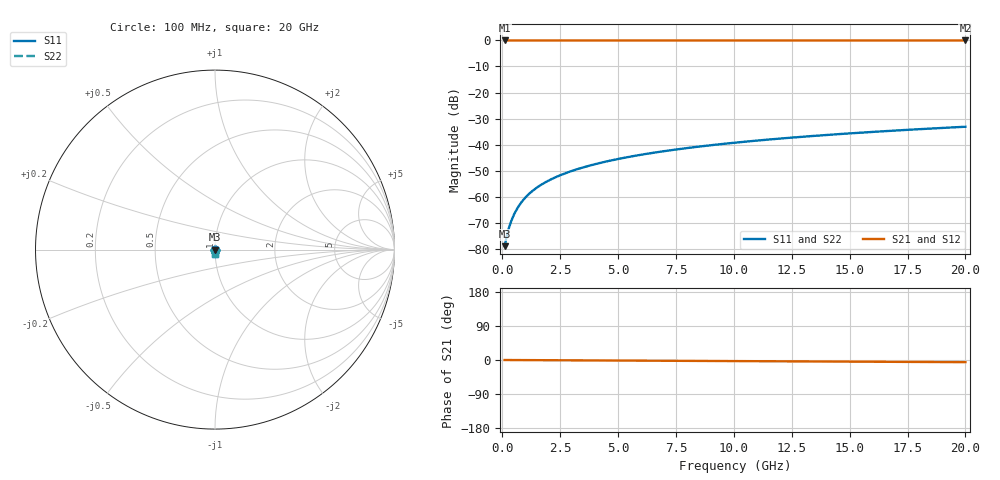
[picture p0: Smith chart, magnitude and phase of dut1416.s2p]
! Touchstone file exported from HFSS 2026.1.0
!  File:  C:/ffzhzh/LocalFiles/Ansys_Project_Files/temp_train_TSV_1416_1783197154_51560.aedt
!  Generated:  04:34:00 AM Jul  5, 2026
!  Design:  TSV
!  Project:  temp_train_TSV_1416_1783197154_51560
! Variables:
!  h_bsmrdl = 2um
!  h_ox = 20um
!  h_rdl = 5um
!  h_sub = 54.92um
!  h_tmrdl = 5um
!  h_tsv = 54.92um
!  h_via = 3um
!  l_bsmrdl = 300um
!  l_sub = 423.38um
!  l_tmrdl = 200um
!  m_sub = 200um
!  pitch = 37.97um
!  r_tsv = 11.69um
!  s_tmrdl = 10um
!  w_bsmrdl = 18um
!  w_sub = 500um
!  w_tmrdl = 12um
!  x_tsv_center1 = 206um
!  x_tsv_center2 = 524um
!  x_tsv_center3 = 736um
!  x_tsv_center4 = 1054um
!  x_tsv_center5 = 1266um
!  x_tsv_center6 = 1584um
# GHz S MA R 50.000000
! Terminal data exported
! Port[1] = TSV1_1_T1
! Port[2] = TSV1_1_T2
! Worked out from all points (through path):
!   200 points, 100 MHz to 20 GHz, reference 50 ohm
!   highest |S21| = 0.00 dB at 100 MHz (marker M1); lowest = 0.0 dB at 20 GHz (marker M2)
!   lowest |S11| = -79.0 dB at 100 MHz (marker M3), VSWR 1.00, Z = 50 - j0.00768 ohm
!   |S11| at or under -10 dB: start of sweep to end of sweep
!   |S22| runs from -79.0 to -33.2 dB; largest |S21 - S12| = 5.1e-15
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0.1  0.0001117 -43.4  0.9999 -0.0  0.9999 -0.0  0.0001117 -43.4
! Gamma 0 0 0 0
! Port Impedance 50 0 50 0
0.2  0.0001808 -59.7  0.9999 -0.1  0.9999 -0.1  0.0001808 -59.7
0.3  0.0002624 -66.2  0.9999 -0.1  0.9999 -0.1  0.0002624 -66.2
0.4  0.0003515 -69.4  0.9999 -0.1  0.9999 -0.1  0.0003515 -69.4
0.5  0.0004462 -71.5  0.9999 -0.2  0.9999 -0.2  0.0004462 -71.5
0.6  0.0005451 -73.0  0.9998 -0.2  0.9998 -0.2  0.0005451 -73.0
0.8  0.0007509 -75.3  0.9998 -0.2  0.9998 -0.2  0.0007509 -75.3
1.1  0.001069 -77.9  0.9998 -0.3  0.9998 -0.3  0.001069 -77.9
1.3  0.001283 -79.2  0.9997 -0.4  0.9997 -0.4  0.001283 -79.2
1.5  0.001498 -80.3  0.9997 -0.4  0.9997 -0.4  0.001498 -80.3
1.8  0.00182 -81.5  0.9997 -0.5  0.9997 -0.5  0.00182 -81.5
2.1  0.002142 -82.5  0.9997 -0.6  0.9997 -0.6  0.002142 -82.5
2.7  0.002786 -83.9  0.9997 -0.8  0.9997 -0.8  0.002786 -83.9
3.5  0.003649 -85.1  0.9996 -1.0  0.9996 -1.0  0.003649 -85.1
4.2  0.004409 -85.9  0.9996 -1.2  0.9996 -1.2  0.004409 -85.9
5  0.005283 -86.5  0.9995 -1.4  0.9995 -1.4  0.005283 -86.5
6.8  0.007264 -87.8  0.9994 -2.0  0.9994 -2.0  0.007264 -87.8
8.3  0.008926 -88.6  0.9994 -2.4  0.9994 -2.4  0.008926 -88.6
10.1  0.01093 -89.5  0.9993 -2.9  0.9993 -2.9  0.01093 -89.5
13.4  0.0146 -90.9  0.9992 -3.8  0.9992 -3.8  0.0146 -90.9
16.7  0.01829 -92.2  0.999 -4.8  0.999 -4.8  0.01829 -92.2
20  0.02199 -93.3  0.9988 -5.7  0.9988 -5.7  0.02199 -93.3
